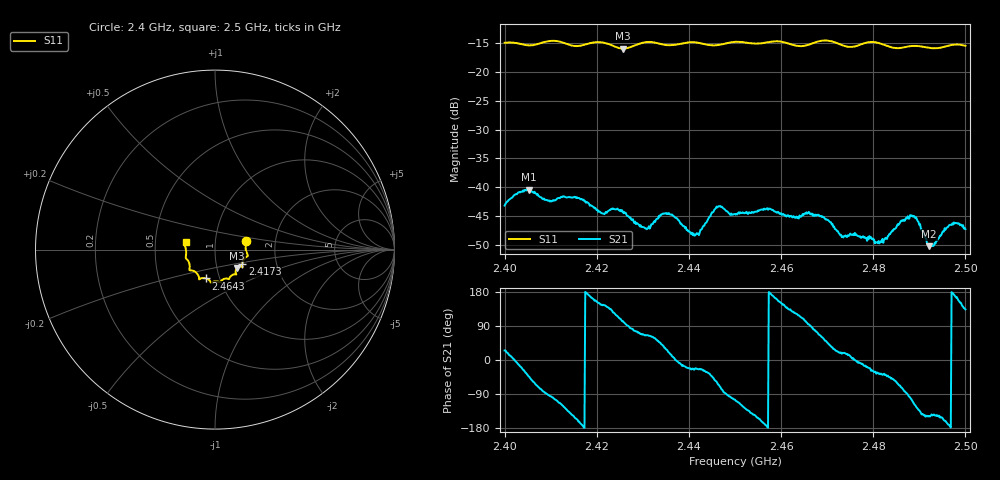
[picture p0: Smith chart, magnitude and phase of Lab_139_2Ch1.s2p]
# Hz S RI R 50
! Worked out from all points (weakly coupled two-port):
!   601 points, 2.4 GHz to 2.5 GHz, reference 50 ohm
!   highest |S21| = -40.45 dB at 2.4053 GHz (marker M1); lowest = -50.3 dB at 2.4922 GHz (marker M2)
!   lowest |S11| = -15.9 dB at 2.4257 GHz (marker M3), VSWR 1.38, Z = 62.5 - j13.1 ohm
!   |S11| at or under -10 dB: start of sweep to end of sweep
!   S12 and S22 are empty: the file has one direction only
!   S11 on the Smith chart (normalised r, x): 2.4 GHz: 1.41, +0.14; 2.4173 GHz: 1.34, -0.23; 2.4643 GHz: 0.86, -0.28; 2.5 GHz: 0.72, +0.06
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2.4e9  0.1731 0.049  0.00626 0.00295  0 0  0 0
2.405333e9  0.1704 0.00967  0.0068 -0.00663  0 0  0 0
2.409833e9  0.1832 -0.0326  -0.00068 -0.00746  0 0  0 0
2.416667e9  0.1529 -0.0751  -0.00778 -0.0014  0 0  0 0
2.417333e9  0.1519 -0.0824  -0.00753 -0.000109  0 0  0 0
2.421167e9  0.1537 -0.0961  -0.00482 0.00344  0 0  0 0
2.425667e9  0.1228 -0.1025  -0.00133 0.00592  0 0  0 0
2.4305e9  0.1185 -0.1375  0.00187 0.00397  0 0  0 0
2.433333e9  0.1127 -0.1371  0.00341 0.00412  0 0  0 0
2.436167e9  0.0926 -0.1441  0.0056 0.00137  0 0  0 0
2.441667e9  0.0753 -0.1642  0.00366 -0.00156  0 0  0 0
2.446333e9  0.0448 -0.1661  0.0029 -0.00613  0 0  0 0
2.45e9  0.0295 -0.1809  -0.00148 -0.00564  0 0  0 0
2.464333e9  -0.0501 -0.1604  -0.00214 0.00512  0 0  0 0
2.466667e9  -0.0759 -0.1597  0.000408 0.00589  0 0  0 0
2.473333e9  -0.0932 -0.1432  0.00356 0.00115  0 0  0 0
2.480833e9  -0.1428 -0.11  0.00277 -0.0018  0 0  0 0
2.483333e9  -0.141 -0.0894  0.0027 -0.00265  0 0  0 0
2.4885e9  -0.1616 -0.048  -0.00175 -0.00532  0 0  0 0
2.492167e9  -0.1608 -0.0234  -0.0026 -0.00164  0 0  0 0
2.497e9  -0.1701 0.0267  -0.0047 6.72e-05  0 0  0 0
2.5e9  -0.1638 0.0425  -0.00298 0.00313  0 0  0 0
